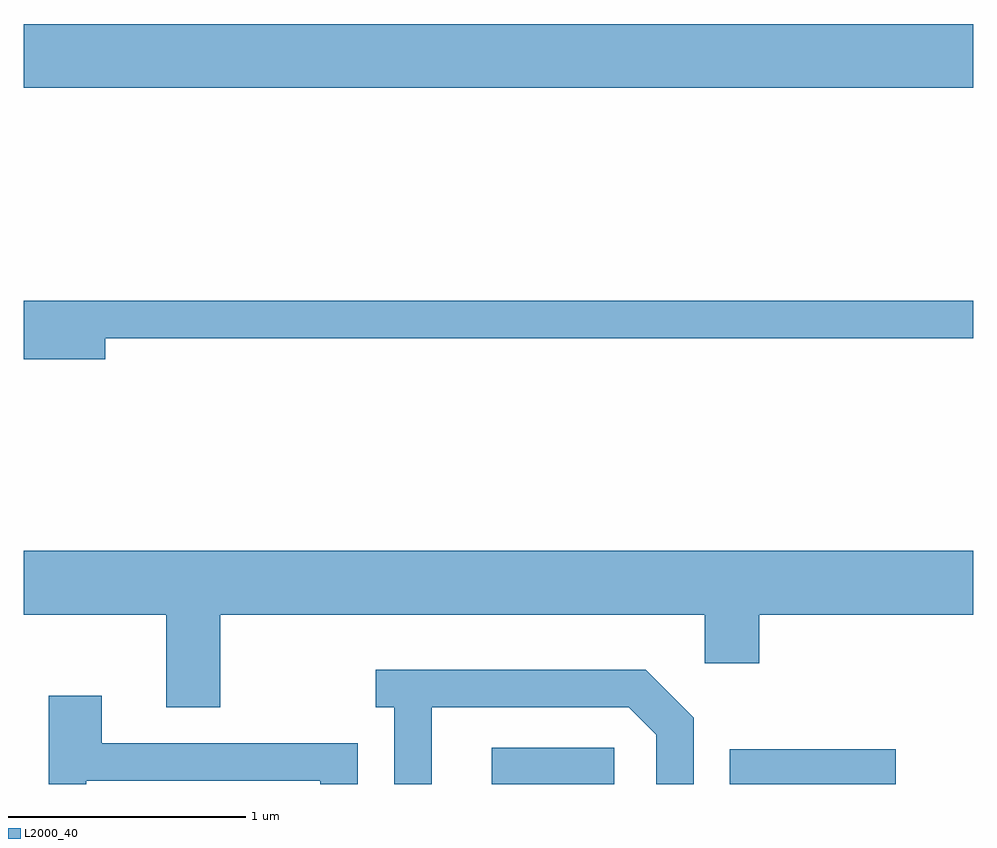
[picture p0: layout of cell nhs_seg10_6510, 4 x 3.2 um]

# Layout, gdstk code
import gdstk
lib = gdstk.Library(unit=1e-6, precision=1e-09)
def R(c, l, rs):  # rectangles x0, y0, x1, y1
    for r in rs: c.add(gdstk.rectangle(r[:2], r[2:], *l))
def P(c, l, *ps):  # polygons
    for p in ps: c.add(gdstk.Polygon(p, *l))
L2000_40 = (2000, 40)

nhs_seg10_6510 = lib.new_cell('nhs_seg10_6510')
R(nhs_seg10_6510, L2000_40, [(379.583,2126.522,380.099,2126.674), (380.586,2126.522,381.284,2126.669), (377.611,2129.456,381.611,2129.724)])
P(nhs_seg10_6510, L2000_40, [(377.954,2128.401),(381.611,2128.401),(381.611,2128.559),(377.611,2128.559),(377.611,2128.311),(377.954,2128.311)],
  [(378.439,2127.236),(380.481,2127.236),(380.481,2127.031),(380.709,2127.031),(380.709,2127.236),(381.611,2127.236),(381.611,2127.504),(377.611,2127.504),(377.611,2127.236),(378.211,2127.236),(378.211,2126.846),(378.439,2126.846)],
  [(379.329,2126.846),(380.159,2126.846),(380.276,2126.729),(380.276,2126.522),(380.434,2126.522),(380.434,2126.802),(380.232,2127.004),(379.093,2127.004),(379.093,2126.846),(379.171,2126.846),(379.171,2126.522),(379.329,2126.522)],
  [(377.874,2126.536),(378.861,2126.536),(378.861,2126.522),(379.019,2126.522),(379.019,2126.694),(377.939,2126.694),(377.939,2126.894),(377.716,2126.894),(377.716,2126.522),(377.874,2126.522)])

lib.write_gds('nhs_seg10_6510.gds')
